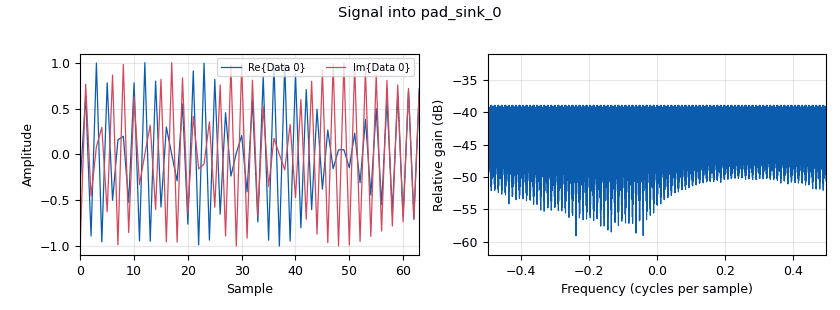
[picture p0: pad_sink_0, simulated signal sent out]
<?xml version='1.0' encoding='utf-8'?>
<?grc format='1' created='3.7.10'?>
<flow_graph>
<block>
<key>options</key>
<param><key>id</key><value>chirp_gen</value></param>
<param><key>author</key><value>Chris Kuethe &lt;chris.kuethe@gmail.com</value></param>
<param><key>category</key><value>Waveform Generators</value></param>
<param><key>generate_options</key><value>hb</value></param>
<param><key>title</key><value>Chirp Generator</value></param>
</block>
<block>
<key>analog_sig_source_x</key>
<param><key>id</key><value>analog_sig_source_x_0</value></param>
<param><key>amp</key><value>1</value></param>
<param><key>freq</key><value>chirp_rate_hz</value></param>
<param><key>offset</key><value>0</value></param>
<param><key>type</key><value>float</value></param>
<param><key>samp_rate</key><value>samp_rate</value></param>
<param><key>waveform</key><value>analog.GR_SAW_WAVE</value></param>
</block>
<block>
<key>analog_sig_source_x</key>
<param><key>id</key><value>analog_sig_source_x_1</value></param>
<param><key>amp</key><value>1 if bf_hz else 0</value></param>
<param><key>freq</key><value>bf_hz</value></param>
<param><key>offset</key><value>0</value></param>
<param><key>type</key><value>complex</value></param>
<param><key>samp_rate</key><value>samp_rate</value></param>
<param><key>waveform</key><value>analog.GR_COS_WAVE</value></param>
</block>
<block>
<key>parameter</key>
<param><key>id</key><value>bf_hz</value></param>
<param><key>comment</key><value>0 = no sweep, !0 = sweep rate</value></param>
<param><key>label</key><value>BF Scan Rate (Hz)</value></param>
<param><key>type</key><value>eng_float</value></param>
<param><key>value</key><value>0</value></param>
</block>
<block>
<key>pad_sink</key>
<param><key>id</key><value>bf_sweep</value></param>
<param><key>type</key><value>float</value></param>
<param><key>label</key><value>swp_mon</value></param>
<param><key>optional</key><value>True</value></param>
</block>
<block>
<key>blks2_selector</key>
<param><key>id</key><value>blks2_selector_0</value></param>
<param><key>input_index</key><value>1 if bf_hz else 0</value></param>
<param><key>num_inputs</key><value>2</value></param>
<param><key>num_outputs</key><value>1</value></param>
<param><key>output_index</key><value>0</value></param>
<param><key>type</key><value>complex</value></param>
<param><key>vlen</key><value>1</value></param>
</block>
<block>
<key>blocks_add_const_vxx</key>
<param><key>id</key><value>blocks_add_const_vxx_0</value></param>
<param><key>const</key><value>0.5</value></param>
<param><key>type</key><value>float</value></param>
</block>
<block>
<key>blocks_complex_to_arg</key>
<param><key>id</key><value>blocks_complex_to_arg_0</value></param>
</block>
<block>
<key>blocks_multiply_const_vxx</key>
<param><key>id</key><value>blocks_multiply_const_vxx_0</value></param>
<param><key>const</key><value>1.0/pi * 0.5</value></param>
<param><key>type</key><value>float</value></param>
</block>
<block>
<key>blocks_multiply_xx</key>
<param><key>id</key><value>blocks_multiply_xx_0</value></param>
<param><key>type</key><value>complex</value></param>
</block>
<block>
<key>blocks_null_sink</key>
<param><key>id</key><value>blocks_null_sink_0</value></param>
<param><key>bus_conns</key><value>[[0,],]</value></param>
<param><key>type</key><value>complex</value></param>
</block>
<block>
<key>blocks_null_sink</key>
<param><key>id</key><value>blocks_null_sink_1</value></param>
<param><key>bus_conns</key><value>[[0,],]</value></param>
<param><key>type</key><value>float</value></param>
</block>
<block>
<key>blocks_vco_c</key>
<param><key>id</key><value>blocks_vco_c_0</value></param>
<param><key>amplitude</key><value>1.0</value></param>
<param><key>samp_rate</key><value>samp_rate</value></param>
<param><key>sensitivity</key><value>chirp_width_hz * pi *2</value></param>
</block>
<block>
<key>parameter</key>
<param><key>id</key><value>chirp_rate_hz</value></param>
<param><key>label</key><value>Chirp Rate (Hz)</value></param>
<param><key>type</key><value>eng_float</value></param>
<param><key>value</key><value>48</value></param>
</block>
<block>
<key>parameter</key>
<param><key>id</key><value>chirp_width_hz</value></param>
<param><key>label</key><value>Chirp Width (Hz)</value></param>
<param><key>type</key><value>eng_float</value></param>
<param><key>value</key><value>48e3</value></param>
</block>
<block>
<key>import</key>
<param><key>id</key><value>import_pi</value></param>
<param><key>import</key><value>from math import pi</value></param>
</block>
<block>
<key>pad_sink</key>
<param><key>id</key><value>pad_sink_0</value></param>
<param><key>type</key><value>complex</value></param>
<param><key>label</key><value>out_1</value></param>
</block>
<block>
<key>pad_sink</key>
<param><key>id</key><value>pad_sink_0_0</value></param>
<param><key>type</key><value>complex</value></param>
<param><key>label</key><value>out_2</value></param>
<param><key>optional</key><value>True</value></param>
</block>
<block>
<key>parameter</key>
<param><key>id</key><value>samp_rate</value></param>
<param><key>label</key><value>Sample Rate</value></param>
<param><key>type</key><value>eng_float</value></param>
<param><key>value</key><value>48e3</value></param>
</block>
<connection><source_block_id>analog_sig_source_x_0</source_block_id><sink_block_id>blocks_vco_c_0</sink_block_id><source_key>0</source_key><sink_key>0</sink_key></connection>
<connection><source_block_id>analog_sig_source_x_1</source_block_id><sink_block_id>blocks_complex_to_arg_0</sink_block_id><source_key>0</source_key><sink_key>0</sink_key></connection>
<connection><source_block_id>analog_sig_source_x_1</source_block_id><sink_block_id>blocks_multiply_xx_0</sink_block_id><source_key>0</source_key><sink_key>1</sink_key></connection>
<connection><source_block_id>blks2_selector_0</source_block_id><sink_block_id>blocks_null_sink_0</sink_block_id><source_key>0</source_key><sink_key>0</sink_key></connection>
<connection><source_block_id>blks2_selector_0</source_block_id><sink_block_id>pad_sink_0_0</sink_block_id><source_key>0</source_key><sink_key>0</sink_key></connection>
<connection><source_block_id>blocks_add_const_vxx_0</source_block_id><sink_block_id>bf_sweep</sink_block_id><source_key>0</source_key><sink_key>0</sink_key></connection>
<connection><source_block_id>blocks_add_const_vxx_0</source_block_id><sink_block_id>blocks_null_sink_1</sink_block_id><source_key>0</source_key><sink_key>0</sink_key></connection>
<connection><source_block_id>blocks_complex_to_arg_0</source_block_id><sink_block_id>blocks_multiply_const_vxx_0</sink_block_id><source_key>0</source_key><sink_key>0</sink_key></connection>
<connection><source_block_id>blocks_multiply_const_vxx_0</source_block_id><sink_block_id>blocks_add_const_vxx_0</sink_block_id><source_key>0</source_key><sink_key>0</sink_key></connection>
<connection><source_block_id>blocks_multiply_xx_0</source_block_id><sink_block_id>blks2_selector_0</sink_block_id><source_key>0</source_key><sink_key>1</sink_key></connection>
<connection><source_block_id>blocks_vco_c_0</source_block_id><sink_block_id>blks2_selector_0</sink_block_id><source_key>0</source_key><sink_key>0</sink_key></connection>
<connection><source_block_id>blocks_vco_c_0</source_block_id><sink_block_id>blocks_multiply_xx_0</sink_block_id><source_key>0</source_key><sink_key>0</sink_key></connection>
<connection><source_block_id>blocks_vco_c_0</source_block_id><sink_block_id>pad_sink_0</sink_block_id><source_key>0</source_key><sink_key>0</sink_key></connection>
</flow_graph>
